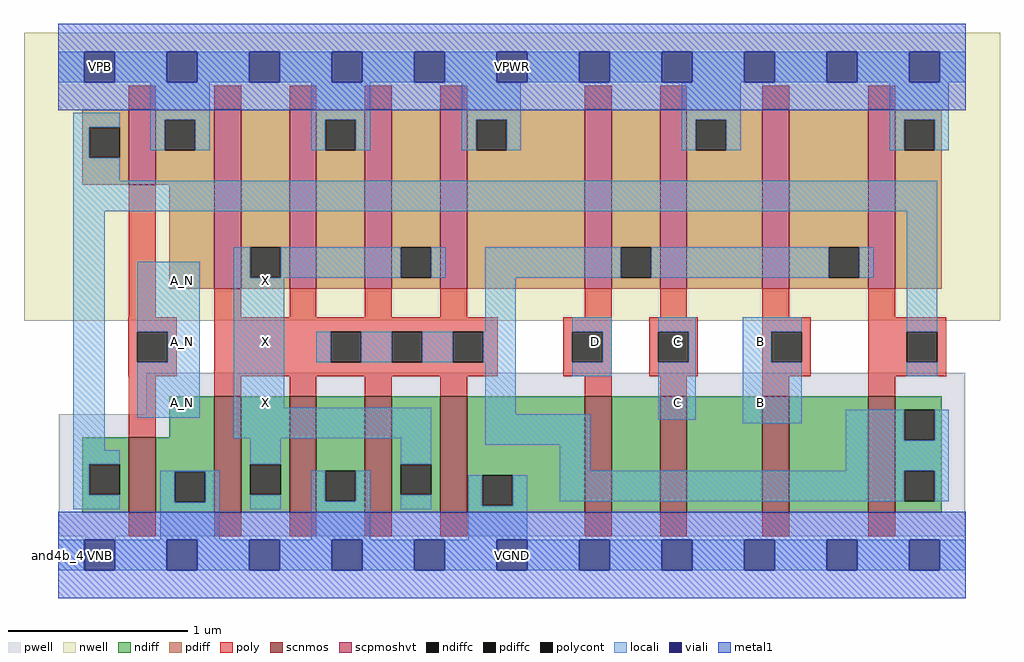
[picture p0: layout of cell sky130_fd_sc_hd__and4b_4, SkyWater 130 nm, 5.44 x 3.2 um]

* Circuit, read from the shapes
.subckt sky130_fd_sc_hd__and4b_4 A_N B C D VGND VNB VPB VPWR X
XM1 VGND A_N n1 VNB sky130_fd_pr__nfet_01v8 w=0.42 l=0.15
XM2 X n2 VGND VNB sky130_fd_pr__nfet_01v8 w=0.65 l=0.15 m=4
XM3 n3 D VGND VNB sky130_fd_pr__nfet_01v8 w=0.65 l=0.15
XM4 n4 C n3 VNB sky130_fd_pr__nfet_01v8 w=0.65 l=0.15
XM5 n5 B n4 VNB sky130_fd_pr__nfet_01v8 w=0.65 l=0.15
XM6 n2 n1 n5 VNB sky130_fd_pr__nfet_01v8 w=0.65 l=0.15
XM7 VPWR A_N n1 VPB sky130_fd_pr__pfet_01v8_hvt w=0.42 l=0.15
XM8 X n2 VPWR VPB sky130_fd_pr__pfet_01v8_hvt w=1 l=0.15 m=4
XM9 n2 D VPWR VPB sky130_fd_pr__pfet_01v8_hvt w=1 l=0.15
XM10 VPWR C n2 VPB sky130_fd_pr__pfet_01v8_hvt w=1 l=0.15
XM11 n2 B VPWR VPB sky130_fd_pr__pfet_01v8_hvt w=1 l=0.15
XM12 VPWR n1 n2 VPB sky130_fd_pr__pfet_01v8_hvt w=1 l=0.15
.ends

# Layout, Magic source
magic
tech sky130B
magscale 1 2
<< nwell >>
rect -38 261 1050 582
<< pwell >>
rect 98 157 1011 203
rect 1 21 1011 157
rect 30 -17 64 21
<< scnmos >>
rect 79 47 109 131
rect 174 47 204 177
rect 258 47 288 177
rect 342 47 372 177
rect 426 47 456 177
rect 587 47 617 177
rect 671 47 701 177
rect 785 47 815 177
rect 903 47 933 177
<< scpmoshvt >>
rect 79 413 109 497
rect 174 297 204 497
rect 258 297 288 497
rect 342 297 372 497
rect 426 297 456 497
rect 587 297 617 497
rect 671 297 701 497
rect 785 297 815 497
rect 903 297 933 497
<< ndiff >>
rect 124 131 174 177
rect 27 101 79 131
rect 27 67 35 101
rect 69 67 79 101
rect 27 47 79 67
rect 109 93 174 131
rect 109 59 130 93
rect 164 59 174 93
rect 109 47 174 59
rect 204 101 258 177
rect 204 67 214 101
rect 248 67 258 101
rect 204 47 258 67
rect 288 94 342 177
rect 288 60 298 94
rect 332 60 342 94
rect 288 47 342 60
rect 372 101 426 177
rect 372 67 382 101
rect 416 67 426 101
rect 372 47 426 67
rect 456 89 587 177
rect 456 55 473 89
rect 507 55 587 89
rect 456 47 587 55
rect 617 47 671 177
rect 701 47 785 177
rect 815 47 903 177
rect 933 162 985 177
rect 933 128 943 162
rect 977 128 985 162
rect 933 94 985 128
rect 933 60 943 94
rect 977 60 985 94
rect 933 47 985 60
<< pdiff >>
rect 27 477 79 497
rect 27 443 35 477
rect 69 443 79 477
rect 27 413 79 443
rect 109 485 174 497
rect 109 451 119 485
rect 153 451 174 485
rect 109 413 174 451
rect 124 297 174 413
rect 204 343 258 497
rect 204 309 214 343
rect 248 309 258 343
rect 204 297 258 309
rect 288 485 342 497
rect 288 451 298 485
rect 332 451 342 485
rect 288 297 342 451
rect 372 343 426 497
rect 372 309 382 343
rect 416 309 426 343
rect 372 297 426 309
rect 456 485 587 497
rect 456 451 466 485
rect 500 451 587 485
rect 456 297 587 451
rect 617 343 671 497
rect 617 309 627 343
rect 661 309 671 343
rect 617 297 671 309
rect 701 485 785 497
rect 701 451 711 485
rect 745 451 785 485
rect 701 297 785 451
rect 815 343 903 497
rect 815 309 859 343
rect 893 309 903 343
rect 815 297 903 309
rect 933 485 985 497
rect 933 451 943 485
rect 977 451 985 485
rect 933 297 985 451
<< ndiffc >>
rect 35 67 69 101
rect 130 59 164 93
rect 214 67 248 101
rect 298 60 332 94
rect 382 67 416 101
rect 473 55 507 89
rect 943 128 977 162
rect 943 60 977 94
<< pdiffc >>
rect 35 443 69 477
rect 119 451 153 485
rect 214 309 248 343
rect 298 451 332 485
rect 382 309 416 343
rect 466 451 500 485
rect 627 309 661 343
rect 711 451 745 485
rect 859 309 893 343
rect 943 451 977 485
<< poly >>
rect 79 497 109 523
rect 174 497 204 523
rect 258 497 288 523
rect 342 497 372 523
rect 426 497 456 523
rect 587 497 617 523
rect 671 497 701 523
rect 785 497 815 523
rect 903 497 933 523
rect 79 265 109 413
rect 174 265 204 297
rect 258 265 288 297
rect 342 265 372 297
rect 426 265 456 297
rect 587 265 617 297
rect 671 265 701 297
rect 785 265 815 297
rect 903 265 933 297
rect 78 249 132 265
rect 78 215 88 249
rect 122 215 132 249
rect 78 199 132 215
rect 174 249 490 265
rect 174 215 304 249
rect 338 215 372 249
rect 406 215 440 249
rect 474 215 490 249
rect 174 199 490 215
rect 563 249 617 265
rect 563 215 573 249
rect 607 215 617 249
rect 563 199 617 215
rect 659 249 713 265
rect 659 215 669 249
rect 703 215 713 249
rect 659 199 713 215
rect 785 249 839 265
rect 785 215 795 249
rect 829 215 839 249
rect 785 199 839 215
rect 903 249 990 265
rect 903 215 946 249
rect 980 215 990 249
rect 903 199 990 215
rect 79 131 109 199
rect 174 177 204 199
rect 258 177 288 199
rect 342 177 372 199
rect 426 177 456 199
rect 587 177 617 199
rect 671 177 701 199
rect 785 177 815 199
rect 903 177 933 199
rect 79 21 109 47
rect 174 21 204 47
rect 258 21 288 47
rect 342 21 372 47
rect 426 21 456 47
rect 587 21 617 47
rect 671 21 701 47
rect 785 21 815 47
rect 903 21 933 47
<< polycont >>
rect 88 215 122 249
rect 304 215 338 249
rect 372 215 406 249
rect 440 215 474 249
rect 573 215 607 249
rect 669 215 703 249
rect 795 215 829 249
rect 946 215 980 249
<< locali >>
rect 0 527 29 561
rect 63 527 121 561
rect 155 527 213 561
rect 247 527 305 561
rect 339 527 397 561
rect 431 527 489 561
rect 523 527 581 561
rect 615 527 673 561
rect 707 527 765 561
rect 799 527 857 561
rect 891 527 949 561
rect 983 527 1012 561
rect 17 477 69 493
rect 17 443 35 477
rect 103 485 169 527
rect 103 451 119 485
rect 153 451 169 485
rect 282 485 348 527
rect 282 451 298 485
rect 332 451 348 485
rect 450 485 516 527
rect 450 451 466 485
rect 500 451 516 485
rect 695 485 761 527
rect 695 451 711 485
rect 745 451 761 485
rect 927 485 993 527
rect 927 451 943 485
rect 977 451 993 485
rect 17 417 69 443
rect 17 383 980 417
rect 17 117 52 383
rect 88 249 158 327
rect 122 215 158 249
rect 88 153 158 215
rect 196 309 214 343
rect 248 309 382 343
rect 416 309 432 343
rect 476 309 627 343
rect 661 309 859 343
rect 893 309 909 343
rect 196 164 252 309
rect 476 249 510 309
rect 288 215 304 249
rect 338 215 372 249
rect 406 215 440 249
rect 474 215 510 249
rect 196 130 416 164
rect 17 101 69 117
rect 17 67 35 101
rect 214 101 248 130
rect 17 51 69 67
rect 114 93 180 94
rect 114 59 130 93
rect 164 59 180 93
rect 114 17 180 59
rect 382 101 416 130
rect 476 157 510 215
rect 573 249 617 265
rect 607 215 617 249
rect 573 199 617 215
rect 669 249 711 265
rect 703 215 711 249
rect 476 123 593 157
rect 669 151 711 215
rect 763 249 829 265
rect 763 215 795 249
rect 763 147 829 215
rect 946 249 980 383
rect 946 199 980 215
rect 214 51 248 67
rect 282 60 298 94
rect 332 60 348 94
rect 282 17 348 60
rect 559 94 593 123
rect 878 128 943 162
rect 977 128 993 162
rect 878 94 993 128
rect 382 51 416 67
rect 457 55 473 89
rect 507 55 523 89
rect 559 60 943 94
rect 977 60 993 94
rect 457 17 523 55
rect 0 -17 29 17
rect 63 -17 121 17
rect 155 -17 213 17
rect 247 -17 305 17
rect 339 -17 397 17
rect 431 -17 489 17
rect 523 -17 581 17
rect 615 -17 673 17
rect 707 -17 765 17
rect 799 -17 857 17
rect 891 -17 949 17
rect 983 -17 1012 17
<< viali >>
rect 29 527 63 561
rect 121 527 155 561
rect 213 527 247 561
rect 305 527 339 561
rect 397 527 431 561
rect 489 527 523 561
rect 581 527 615 561
rect 673 527 707 561
rect 765 527 799 561
rect 857 527 891 561
rect 949 527 983 561
rect 29 -17 63 17
rect 121 -17 155 17
rect 213 -17 247 17
rect 305 -17 339 17
rect 397 -17 431 17
rect 489 -17 523 17
rect 581 -17 615 17
rect 673 -17 707 17
rect 765 -17 799 17
rect 857 -17 891 17
rect 949 -17 983 17
<< metal1 >>
rect 0 561 1012 592
rect 0 527 29 561
rect 63 527 121 561
rect 155 527 213 561
rect 247 527 305 561
rect 339 527 397 561
rect 431 527 489 561
rect 523 527 581 561
rect 615 527 673 561
rect 707 527 765 561
rect 799 527 857 561
rect 891 527 949 561
rect 983 527 1012 561
rect 0 496 1012 527
rect 0 17 1012 48
rect 0 -17 29 17
rect 63 -17 121 17
rect 155 -17 213 17
rect 247 -17 305 17
rect 339 -17 397 17
rect 431 -17 489 17
rect 523 -17 581 17
rect 615 -17 673 17
rect 707 -17 765 17
rect 799 -17 857 17
rect 891 -17 949 17
rect 983 -17 1012 17
rect 0 -48 1012 -17
<< labels >>
flabel locali s 214 289 248 323 0 FreeSans 200 0 0 0 X
port 9 nsew signal output
flabel locali s 582 221 616 255 0 FreeSans 200 0 0 0 D
port 4 nsew signal input
flabel locali s 674 153 708 187 0 FreeSans 200 0 0 0 C
port 3 nsew signal input
flabel locali s 674 221 708 255 0 FreeSans 200 0 0 0 C
port 3 nsew signal input
flabel locali s 766 221 800 255 0 FreeSans 200 0 0 0 B
port 2 nsew signal input
flabel locali s 122 153 156 187 0 FreeSans 200 0 0 0 A_N
port 1 nsew signal input
flabel locali s 122 289 156 323 0 FreeSans 200 0 0 0 A_N
port 1 nsew signal input
flabel locali s 214 153 248 187 0 FreeSans 200 0 0 0 X
port 9 nsew signal output
flabel locali s 122 221 156 255 0 FreeSans 200 0 0 0 A_N
port 1 nsew signal input
flabel locali s 214 221 248 255 0 FreeSans 200 0 0 0 X
port 9 nsew signal output
flabel locali s 766 153 800 187 0 FreeSans 200 0 0 0 B
port 2 nsew signal input
flabel pwell s 30 -17 64 17 0 FreeSans 200 0 0 0 VNB
port 6 nsew ground bidirectional
flabel nwell s 30 527 64 561 0 FreeSans 200 0 0 0 VPB
port 7 nsew power bidirectional
flabel metal1 s 30 -17 64 17 0 FreeSans 200 0 0 0 VGND
port 5 nsew ground bidirectional abutment
flabel metal1 s 30 527 64 561 0 FreeSans 200 0 0 0 VPWR
port 8 nsew power bidirectional abutment
rlabel comment s 0 0 0 0 4 and4b_4
rlabel metal1 s 0 -48 1012 48 1 VGND
port 5 nsew ground bidirectional abutment
rlabel metal1 s 0 496 1012 592 1 VPWR
port 8 nsew power bidirectional abutment
<< properties >>
string FIXED_BBOX 0 0 1012 544
string GDS_END 3058502
string GDS_FILE $PDKPATH/libs.ref/sky130_fd_sc_hd/gds/sky130_fd_sc_hd.gds
string GDS_START 3050824
string LEFclass CORE
string LEFsite unithd
string LEFsymmetry X Y R90
string path 0.000 0.000 25.300 0.000 
<< end >>
